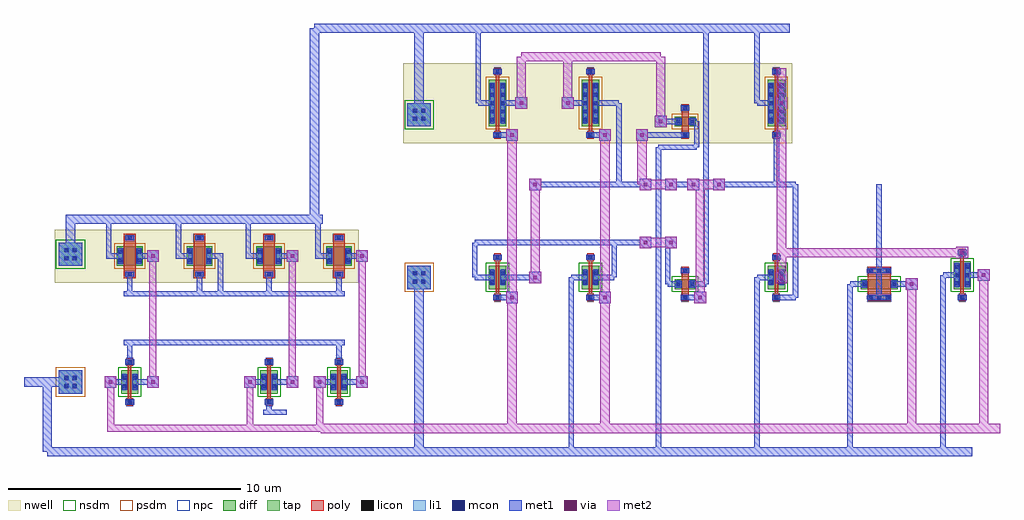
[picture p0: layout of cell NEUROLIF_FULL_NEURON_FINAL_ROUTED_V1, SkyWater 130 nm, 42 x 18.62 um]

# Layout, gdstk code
import gdstk
lib = gdstk.Library(unit=1e-6, precision=1e-09)
def R(c, l, rs):  # rectangles x0, y0, x1, y1
    for r in rs: c.add(gdstk.rectangle(r[:2], r[2:], *l))
def A(c, l, x, y, w, h, nx, ny, dx, dy):  # array of equal rectangles
    R(c, l, [(x+i*dx, y+j*dy, x+i*dx+w, y+j*dy+h) for i in range(nx) for j in range(ny)])
nwell = (64, 20)
diff = (65, 20)
tap = (65, 44)
poly = (66, 20)
licon = (66, 44)
li1 = (67, 20)
mcon = (67, 44)
met1 = (68, 20)
via = (68, 44)
met2 = (69, 20)
nsdm = (93, 44)
psdm = (94, 20)
npc = (95, 20)

n_tap_vdd_w1000_h1000 = lib.new_cell('N_TAP_VDD_W1000_H1000')
R(n_tap_vdd_w1000_h1000, nwell, [(-0.18,-0.18,1.18,1.18)])
R(n_tap_vdd_w1000_h1000, tap, [(0,0,1,1)])
R(n_tap_vdd_w1000_h1000, licon, [(0.245,0.245,0.415,0.415), (0.585,0.245,0.755,0.415), (0.245,0.585,0.415,0.755), (0.585,0.585,0.755,0.755)])
R(n_tap_vdd_w1000_h1000, li1, [(0,0,1,1)])
R(n_tap_vdd_w1000_h1000, mcon, [(0.235,0.235,0.405,0.405), (0.595,0.235,0.765,0.405), (0.235,0.595,0.405,0.765), (0.595,0.595,0.765,0.765)])
R(n_tap_vdd_w1000_h1000, met1, [(0,0,1,1)])
R(n_tap_vdd_w1000_h1000, nsdm, [(-0.125,-0.125,1.125,1.125)])

p_syn_w0840_l0500 = lib.new_cell('P_SYN_W0840_L0500')
R(p_syn_w0840_l0500, nwell, [(-0.305,-0.72,1.405,1.56)])
R(p_syn_w0840_l0500, diff, [(0,0,1.1,0.84)])
R(p_syn_w0840_l0500, poly, [(0.3,-0.53,0.8,-0.2), (0.3,-0.2,0.8,1.04), (0.3,1.04,0.8,1.37)])
R(p_syn_w0840_l0500, licon, [(0.465,-0.45,0.635,-0.28), (0.065,0.155,0.235,0.325), (0.865,0.155,1.035,0.325), (0.065,0.515,0.235,0.685), (0.865,0.515,1.035,0.685), (0.465,1.12,0.635,1.29)])
R(p_syn_w0840_l0500, li1, [(0.385,-0.45,0.715,-0.28), (0.065,0.075,0.235,0.765), (0.865,0.075,1.035,0.765), (0.385,1.12,0.715,1.29)])
R(p_syn_w0840_l0500, mcon, [(0.465,-0.45,0.635,-0.28), (0.065,0.155,0.235,0.325), (0.865,0.155,1.035,0.325), (0.065,0.515,0.235,0.685), (0.865,0.515,1.035,0.685), (0.465,1.12,0.635,1.29)])
R(p_syn_w0840_l0500, met1, [(0.365,-0.48,0.735,-0.25), (0.035,0.095,0.265,0.745), (0.835,0.095,1.065,0.745), (0.365,1.09,0.735,1.32)])
R(p_syn_w0840_l0500, psdm, [(-0.125,-0.125,1.225,0.965)])
R(p_syn_w0840_l0500, npc, [(0.29,-0.54,0.81,-0.19), (0.29,1.03,0.81,1.38)])

p_tap_vss_w1000_h1000 = lib.new_cell('P_TAP_VSS_W1000_H1000')
R(p_tap_vss_w1000_h1000, tap, [(0,0,1,1)])
R(p_tap_vss_w1000_h1000, licon, [(0.245,0.245,0.415,0.415), (0.585,0.245,0.755,0.415), (0.245,0.585,0.415,0.755), (0.585,0.585,0.755,0.755)])
R(p_tap_vss_w1000_h1000, li1, [(0,0,1,1)])
R(p_tap_vss_w1000_h1000, mcon, [(0.235,0.235,0.405,0.405), (0.595,0.235,0.765,0.405), (0.235,0.595,0.405,0.765), (0.595,0.595,0.765,0.765)])
R(p_tap_vss_w1000_h1000, met1, [(0,0,1,1)])
R(p_tap_vss_w1000_h1000, psdm, [(-0.125,-0.125,1.125,1.125)])

n_logic_w1000_l0150 = lib.new_cell('N_LOGIC_W1000_L0150')
R(n_logic_w1000_l0150, diff, [(0,0,0.75,1)])
R(n_logic_w1000_l0150, poly, [(0.24,-0.53,0.51,-0.2), (0.3,-0.2,0.45,1.2), (0.24,1.2,0.51,1.53)])
R(n_logic_w1000_l0150, licon, [(0.29,-0.45,0.46,-0.28), (0.065,0.235,0.235,0.405), (0.515,0.235,0.685,0.405), (0.065,0.595,0.235,0.765), (0.515,0.595,0.685,0.765), (0.29,1.28,0.46,1.45)])
R(n_logic_w1000_l0150, li1, [(0.21,-0.45,0.54,-0.28), (0.065,0.155,0.235,0.845), (0.515,0.155,0.685,0.845), (0.21,1.28,0.54,1.45)])
R(n_logic_w1000_l0150, mcon, [(0.29,-0.45,0.46,-0.28), (0.065,0.235,0.235,0.405), (0.515,0.235,0.685,0.405), (0.065,0.595,0.235,0.765), (0.515,0.595,0.685,0.765), (0.29,1.28,0.46,1.45)])
R(n_logic_w1000_l0150, met1, [(0.19,-0.48,0.56,-0.25), (0.035,0.175,0.265,0.825), (0.485,0.175,0.715,0.825), (0.19,1.25,0.56,1.48)])
R(n_logic_w1000_l0150, nsdm, [(-0.125,-0.125,0.875,1.125)])
R(n_logic_w1000_l0150, npc, [(0.23,-0.54,0.52,-0.19), (0.23,1.19,0.52,1.54)])

neurolif_weighted_synaps = lib.new_cell('NEUROLIF_WEIGHTED_SYNAPSE_PLACEMENT_V1')
R(neurolif_weighted_synaps, nwell, [(-2.68,7.28,10.405,9.56)])
neurolif_weighted_synaps.add(gdstk.Reference(p_syn_w0840_l0500, (0,8)))
neurolif_weighted_synaps.add(gdstk.Reference(p_syn_w0840_l0500, (3,8)))
neurolif_weighted_synaps.add(gdstk.Reference(p_syn_w0840_l0500, (6,8)))
neurolif_weighted_synaps.add(gdstk.Reference(p_syn_w0840_l0500, (9,8)))
neurolif_weighted_synaps.add(gdstk.Reference(n_tap_vdd_w1000_h1000, (-2.5,8)))
neurolif_weighted_synaps.add(gdstk.Reference(p_tap_vss_w1000_h1000, (-2.5,2.5)))
neurolif_weighted_synaps.add(gdstk.Reference(n_logic_w1000_l0150, (0.175,2.5)))
neurolif_weighted_synaps.add(gdstk.Reference(n_logic_w1000_l0150, (6.175,2.5)))
neurolif_weighted_synaps.add(gdstk.Reference(n_logic_w1000_l0150, (9.175,2.5)))

c_neurolif_weighted_synaps = lib.new_cell('NEUROLIF_WEIGHTED_SYNAPSE_VDD_V1')
A(c_neurolif_weighted_synaps, met1, -0.465, 8.305, 0.73, 0.23, 4, 1, 3, 0)
A(c_neurolif_weighted_synaps, met1, -0.465, 8.305, 0.23, 1.895, 4, 1, 3, 0)
R(c_neurolif_weighted_synaps, met1, [(-2.2,8.3,-1.8,10.2), (-2.2,9.8,8.85,10.2)])
c_neurolif_weighted_synaps.add(gdstk.Reference(neurolif_weighted_synaps, (0,0)))

c_neurolif_weighted_synaps_ = lib.new_cell('NEUROLIF_WEIGHTED_SYNAPSE_VBIAS_V1')
A(c_neurolif_weighted_synaps_, met1, 0.435, 6.685, 0.23, 1.065, 4, 1, 3, 0)
R(c_neurolif_weighted_synaps_, met1, [(0.3,6.685,9.8,6.915), (4.335,6.685,4.565,8.535), (3.835,8.305,4.565,8.535)])
c_neurolif_weighted_synaps_.add(gdstk.Reference(c_neurolif_weighted_synaps, (0,0)))

neurolif_m1_m2_transitio = lib.new_cell('NEUROLIF_M1_M2_TRANSITION_W0500_H0500')
R(neurolif_m1_m2_transitio, met1, [(0,0,0.5,0.5)])
R(neurolif_m1_m2_transitio, via, [(0.175,0.175,0.325,0.325)])
R(neurolif_m1_m2_transitio, met2, [(0,0,0.5,0.5)])

c_neurolif_weighted_synaps__ = lib.new_cell('NEUROLIF_WEIGHTED_SYNAPSE_BRANCHES_V2')
R(c_neurolif_weighted_synaps__, met1, [(0.66,2.885,1.665,3.115), (6.66,2.885,7.665,3.115), (9.66,2.885,10.665,3.115), (0.835,8.305,1.665,8.535), (6.835,8.305,7.665,8.535), (9.835,8.305,10.665,8.535)])
R(c_neurolif_weighted_synaps__, met2, [(1.4,2.75,1.7,8.67), (7.4,2.75,7.7,8.67), (10.4,2.75,10.7,8.67)])
c_neurolif_weighted_synaps__.add(gdstk.Reference(c_neurolif_weighted_synaps_, (0,0)))
c_neurolif_weighted_synaps__.add(gdstk.Reference(neurolif_m1_m2_transitio, (1.3,2.75)))
c_neurolif_weighted_synaps__.add(gdstk.Reference(neurolif_m1_m2_transitio, (7.3,2.75)))
c_neurolif_weighted_synaps__.add(gdstk.Reference(neurolif_m1_m2_transitio, (10.3,2.75)))
c_neurolif_weighted_synaps__.add(gdstk.Reference(neurolif_m1_m2_transitio, (1.3,8.17)))
c_neurolif_weighted_synaps__.add(gdstk.Reference(neurolif_m1_m2_transitio, (7.3,8.17)))
c_neurolif_weighted_synaps__.add(gdstk.Reference(neurolif_m1_m2_transitio, (10.3,8.17)))

c_neurolif_weighted_synaps___ = lib.new_cell('NEUROLIF_WEIGHTED_SYNAPSE_VMEM_V1')
R(c_neurolif_weighted_synaps___, met1, [(-0.39,2.885,0.44,3.115), (5.61,2.885,6.44,3.115), (8.61,2.885,9.44,3.115)])
R(c_neurolif_weighted_synaps___, met2, [(-0.425,0.85,-0.125,3.25), (-0.425,0.85,8.875,1.15), (5.575,0.85,5.875,3.25), (8.575,0.85,8.875,3.25)])
c_neurolif_weighted_synaps___.add(gdstk.Reference(c_neurolif_weighted_synaps__, (0,0)))
c_neurolif_weighted_synaps___.add(gdstk.Reference(neurolif_m1_m2_transitio, (-0.525,2.75)))
c_neurolif_weighted_synaps___.add(gdstk.Reference(neurolif_m1_m2_transitio, (5.475,2.75)))
c_neurolif_weighted_synaps___.add(gdstk.Reference(neurolif_m1_m2_transitio, (8.475,2.75)))

c_neurolif_weighted_synaps____ = lib.new_cell('NEUROLIF_WEIGHTED_SYNAPSE_WEIGHT_GATES_V2')
R(c_neurolif_weighted_synaps____, met1, [(6.3,1.585,7.3,1.815), (6.435,1.585,6.665,2.25), (0.435,3.75,0.665,4.815), (9.435,3.75,9.665,4.815), (0.3,4.585,9.8,4.815)])
c_neurolif_weighted_synaps____.add(gdstk.Reference(c_neurolif_weighted_synaps___, (0,0)))

c_neurolif_weighted_synaps_____ = lib.new_cell('NEUROLIF_WEIGHTED_SYNAPSE_VSS_V1')
R(c_neurolif_weighted_synaps_____, met1, [(-4,2.8,-2,3.2)])
c_neurolif_weighted_synaps_____.add(gdstk.Reference(c_neurolif_weighted_synaps____, (0,0)))

p_logic_w2000_l0150 = lib.new_cell('P_LOGIC_W2000_L0150')
R(p_logic_w2000_l0150, nwell, [(-0.305,-0.72,1.055,2.72)])
R(p_logic_w2000_l0150, diff, [(0,0,0.75,2)])
R(p_logic_w2000_l0150, poly, [(0.24,-0.53,0.51,-0.2), (0.3,-0.2,0.45,2.2), (0.24,2.2,0.51,2.53)])
A(p_logic_w2000_l0150, licon, 0.065, 0.195, 0.17, 0.17, 1, 5, 0, 0.36)
A(p_logic_w2000_l0150, licon, 0.515, 0.195, 0.17, 0.17, 1, 5, 0, 0.36)
R(p_logic_w2000_l0150, licon, [(0.29,-0.45,0.46,-0.28), (0.29,2.28,0.46,2.45)])
R(p_logic_w2000_l0150, li1, [(0.21,-0.45,0.54,-0.28), (0.065,0.115,0.235,1.885), (0.515,0.115,0.685,1.885), (0.21,2.28,0.54,2.45)])
A(p_logic_w2000_l0150, mcon, 0.065, 0.195, 0.17, 0.17, 1, 5, 0, 0.36)
A(p_logic_w2000_l0150, mcon, 0.515, 0.195, 0.17, 0.17, 1, 5, 0, 0.36)
R(p_logic_w2000_l0150, mcon, [(0.29,-0.45,0.46,-0.28), (0.29,2.28,0.46,2.45)])
R(p_logic_w2000_l0150, met1, [(0.19,-0.48,0.56,-0.25), (0.035,0.135,0.265,1.865), (0.485,0.135,0.715,1.865), (0.19,2.25,0.56,2.48)])
R(p_logic_w2000_l0150, psdm, [(-0.125,-0.125,0.875,2.125)])
R(p_logic_w2000_l0150, npc, [(0.23,-0.54,0.52,-0.19), (0.23,2.19,0.52,2.54)])

p_fb_w0420_l0300 = lib.new_cell('P_FB_W0420_L0300')
R(p_fb_w0420_l0300, nwell, [(-0.305,-0.72,1.205,1.14)])
R(p_fb_w0420_l0300, diff, [(0,0,0.9,0.42)])
R(p_fb_w0420_l0300, poly, [(0.3,-0.53,0.6,-0.2), (0.3,-0.2,0.6,0.62), (0.3,0.62,0.6,0.95)])
R(p_fb_w0420_l0300, licon, [(0.365,-0.45,0.535,-0.28), (0.065,0.125,0.235,0.295), (0.665,0.125,0.835,0.295), (0.365,0.7,0.535,0.87)])
R(p_fb_w0420_l0300, li1, [(0.285,-0.45,0.615,-0.28), (0.065,0.045,0.235,0.375), (0.665,0.045,0.835,0.375), (0.285,0.7,0.615,0.87)])
R(p_fb_w0420_l0300, mcon, [(0.365,-0.45,0.535,-0.28), (0.065,0.125,0.235,0.295), (0.665,0.125,0.835,0.295), (0.365,0.7,0.535,0.87)])
R(p_fb_w0420_l0300, met1, [(0.265,-0.48,0.635,-0.25), (0.005,0.065,0.295,0.355), (0.605,0.065,0.895,0.355), (0.265,0.67,0.635,0.9)])
R(p_fb_w0420_l0300, psdm, [(-0.125,-0.125,1.025,0.545)])
R(p_fb_w0420_l0300, npc, [(0.29,-0.54,0.61,-0.19), (0.29,0.61,0.61,0.96)])

n_fb_w0420_l0300 = lib.new_cell('N_FB_W0420_L0300')
R(n_fb_w0420_l0300, diff, [(0,0,0.9,0.42)])
R(n_fb_w0420_l0300, poly, [(0.3,-0.53,0.6,-0.2), (0.3,-0.2,0.6,0.62), (0.3,0.62,0.6,0.95)])
R(n_fb_w0420_l0300, licon, [(0.365,-0.45,0.535,-0.28), (0.065,0.125,0.235,0.295), (0.665,0.125,0.835,0.295), (0.365,0.7,0.535,0.87)])
R(n_fb_w0420_l0300, li1, [(0.285,-0.45,0.615,-0.28), (0.065,0.045,0.235,0.375), (0.665,0.045,0.835,0.375), (0.285,0.7,0.615,0.87)])
R(n_fb_w0420_l0300, mcon, [(0.365,-0.45,0.535,-0.28), (0.065,0.125,0.235,0.295), (0.665,0.125,0.835,0.295), (0.365,0.7,0.535,0.87)])
R(n_fb_w0420_l0300, met1, [(0.265,-0.48,0.635,-0.25), (0.005,0.065,0.295,0.355), (0.605,0.065,0.895,0.355), (0.265,0.67,0.635,0.9)])
R(n_fb_w0420_l0300, nsdm, [(-0.125,-0.125,1.025,0.545)])
R(n_fb_w0420_l0300, npc, [(0.29,-0.54,0.61,-0.19), (0.29,0.61,0.61,0.96)])

n_leak_w0420_l1000 = lib.new_cell('N_LEAK_W0420_L1000')
R(n_leak_w0420_l1000, diff, [(0,0,1.6,0.42)])
R(n_leak_w0420_l1000, poly, [(0.3,-0.53,1.3,-0.2), (0.3,-0.2,1.3,0.62), (0.3,0.62,1.3,0.95)])
A(n_leak_w0420_l1000, licon, 0.355, -0.45, 0.17, 0.17, 3, 2, 0.36, 1.15)
R(n_leak_w0420_l1000, licon, [(0.065,0.125,0.235,0.295), (1.365,0.125,1.535,0.295)])
R(n_leak_w0420_l1000, li1, [(0.275,-0.45,1.325,-0.28), (0.065,0.045,0.235,0.375), (1.365,0.045,1.535,0.375), (0.275,0.7,1.325,0.87)])
A(n_leak_w0420_l1000, mcon, 0.355, -0.45, 0.17, 0.17, 3, 2, 0.36, 1.15)
R(n_leak_w0420_l1000, mcon, [(0.065,0.125,0.235,0.295), (1.365,0.125,1.535,0.295)])
R(n_leak_w0420_l1000, met1, [(0.295,-0.48,1.305,-0.25), (0.005,0.065,0.295,0.355), (1.305,0.065,1.595,0.355), (0.295,0.67,1.305,0.9)])
R(n_leak_w0420_l1000, nsdm, [(-0.125,-0.125,1.725,0.545)])
R(n_leak_w0420_l1000, npc, [(0.29,-0.54,1.31,-0.19), (0.29,0.61,1.31,0.96)])

n_reset_w1200_l0150 = lib.new_cell('N_RESET_W1200_L0150')
R(n_reset_w1200_l0150, diff, [(0,0,0.75,1.2)])
R(n_reset_w1200_l0150, poly, [(0.24,-0.53,0.51,-0.2), (0.3,-0.2,0.45,1.4), (0.24,1.4,0.51,1.73)])
A(n_reset_w1200_l0150, licon, 0.065, 0.155, 0.17, 0.17, 1, 3, 0, 0.36)
A(n_reset_w1200_l0150, licon, 0.515, 0.155, 0.17, 0.17, 1, 3, 0, 0.36)
R(n_reset_w1200_l0150, licon, [(0.29,-0.45,0.46,-0.28), (0.29,1.48,0.46,1.65)])
R(n_reset_w1200_l0150, li1, [(0.21,-0.45,0.54,-0.28), (0.065,0.075,0.235,1.125), (0.515,0.075,0.685,1.125), (0.21,1.48,0.54,1.65)])
A(n_reset_w1200_l0150, mcon, 0.065, 0.155, 0.17, 0.17, 1, 3, 0, 0.36)
A(n_reset_w1200_l0150, mcon, 0.515, 0.155, 0.17, 0.17, 1, 3, 0, 0.36)
R(n_reset_w1200_l0150, mcon, [(0.29,-0.45,0.46,-0.28), (0.29,1.48,0.46,1.65)])
R(n_reset_w1200_l0150, met1, [(0.19,-0.48,0.56,-0.25), (0.035,0.095,0.265,1.105), (0.485,0.095,0.715,1.105), (0.19,1.45,0.56,1.68)])
R(n_reset_w1200_l0150, nsdm, [(-0.125,-0.125,0.875,1.325)])
R(n_reset_w1200_l0150, npc, [(0.23,-0.54,0.52,-0.19), (0.23,1.39,0.52,1.74)])

neurolif_full_neuron_pla = lib.new_cell('NEUROLIF_FULL_NEURON_PLACEMENT_V1')
R(neurolif_full_neuron_pla, nwell, [(12.32,13.28,29.055,16.72)])
neurolif_full_neuron_pla.add(gdstk.Reference(n_tap_vdd_w1000_h1000, (12.5,14)))
neurolif_full_neuron_pla.add(gdstk.Reference(c_neurolif_weighted_synaps_____, (0,0)))
neurolif_full_neuron_pla.add(gdstk.Reference(p_logic_w2000_l0150, (16,14)))
neurolif_full_neuron_pla.add(gdstk.Reference(p_logic_w2000_l0150, (20,14)))
neurolif_full_neuron_pla.add(gdstk.Reference(p_logic_w2000_l0150, (28,14)))
neurolif_full_neuron_pla.add(gdstk.Reference(p_fb_w0420_l0300, (24,14)))
neurolif_full_neuron_pla.add(gdstk.Reference(p_tap_vss_w1000_h1000, (12.5,7)))
neurolif_full_neuron_pla.add(gdstk.Reference(n_fb_w0420_l0300, (24,7)))
neurolif_full_neuron_pla.add(gdstk.Reference(n_logic_w1000_l0150, (16,7)))
neurolif_full_neuron_pla.add(gdstk.Reference(n_logic_w1000_l0150, (20,7)))
neurolif_full_neuron_pla.add(gdstk.Reference(n_logic_w1000_l0150, (28,7)))
neurolif_full_neuron_pla.add(gdstk.Reference(n_leak_w0420_l1000, (32,7)))
neurolif_full_neuron_pla.add(gdstk.Reference(n_reset_w1200_l0150, (36,7)))

neurolif_full_neuron_vdd = lib.new_cell('NEUROLIF_FULL_NEURON_VDD_V2')
R(neurolif_full_neuron_vdd, met1, [(8.3,10,8.7,18.22), (12.8,14.5,13.2,18.22), (15.55,14.885,16.15,15.115), (27.55,14.885,28.15,15.115), (15.435,15,15.665,18.22), (27.435,15,27.665,18.22), (8.5,18.02,28.95,18.42)])
neurolif_full_neuron_vdd.add(gdstk.Reference(neurolif_full_neuron_pla, (0,0)))

c_neurolif_full_neuron_vdd = lib.new_cell('NEUROLIF_FULL_NEURON_VDD_V3')
R(c_neurolif_full_neuron_vdd, met1, [(24.75,7.095,25.35,7.325), (25.235,7.21,25.465,18.22)])
c_neurolif_full_neuron_vdd.add(gdstk.Reference(neurolif_full_neuron_vdd, (0,0)))

neurolif_full_neuron_vss = lib.new_cell('NEUROLIF_FULL_NEURON_VSS_V1')
R(neurolif_full_neuron_vss, met1, [(-3,-0.2,36.8,0.2), (-3.2,0,-2.8,3), (12.8,0,13.2,7.5), (19.435,0,19.665,7.5), (23.185,0,23.415,13.1), (27.435,0,27.665,7.5), (31.435,0,31.665,7.21), (35.435,0,35.665,7.6), (31.55,7.095,32.15,7.325), (19.55,7.385,20.15,7.615), (27.55,7.385,28.15,7.615), (35.55,7.485,36.15,7.715), (23.3,12.985,24.95,13.215), (24.835,13.1,25.065,14.21), (24.75,14.095,24.95,14.325)])
neurolif_full_neuron_vss.add(gdstk.Reference(c_neurolif_full_neuron_vdd, (0,0)))

neurolif_full_neuron_vme = lib.new_cell('NEUROLIF_FULL_NEURON_VMEM_V1')
R(neurolif_full_neuron_vme, met1, [(16.75,6.385,17.25,6.885), (20.75,6.385,21.25,6.885), (16.375,6.52,17,6.75), (20.375,6.52,21,6.75), (33.95,6.96,34.45,7.46), (33.45,7.095,34.2,7.325), (37.05,7.35,37.55,7.85), (36.6,7.485,37.3,7.715), (16.75,13.385,17.25,13.885), (20.75,13.385,21.25,13.885), (16.375,13.52,17,13.75), (20.375,13.52,21,13.75)])
R(neurolif_full_neuron_vme, via, [(16.925,6.56,17.075,6.71), (20.925,6.56,21.075,6.71), (34.125,7.135,34.275,7.285), (37.225,7.525,37.375,7.675), (16.925,13.56,17.075,13.71), (20.925,13.56,21.075,13.71)])
R(neurolif_full_neuron_vme, met2, [(8.775,0.8,38,1.2), (16.8,1,17.2,13.635), (20.8,1,21.2,13.635), (34,1,34.4,7.21), (37.1,1,37.5,7.6), (16.75,6.385,17.25,6.885), (20.75,6.385,21.25,6.885), (33.95,6.96,34.45,7.46), (37.05,7.35,37.55,7.85), (16.75,13.385,17.25,13.885), (20.75,13.385,21.25,13.885)])
neurolif_full_neuron_vme.add(gdstk.Reference(neurolif_full_neuron_vss, (0,0)))

neurolif_full_neuron_vle = lib.new_cell('NEUROLIF_FULL_NEURON_VLEAK_V1')
R(neurolif_full_neuron_vle, met1, [(32.685,6.635,32.915,11.5)])
neurolif_full_neuron_vle.add(gdstk.Reference(neurolif_full_neuron_vme, (0,0)))

neurolif_full_neuron_pmi = lib.new_cell('NEUROLIF_FULL_NEURON_PMID_V2')
R(neurolif_full_neuron_pmi, met1, [(23.15,13.96,23.65,14.46), (23.4,14.095,24.15,14.325), (17.15,14.75,17.65,15.25), (19.15,14.75,19.65,15.25), (16.6,14.885,17.4,15.115), (19.4,14.885,20.15,15.115)])
R(neurolif_full_neuron_pmi, via, [(23.325,14.135,23.475,14.285), (17.325,14.925,17.475,15.075), (19.325,14.925,19.475,15.075)])
R(neurolif_full_neuron_pmi, met2, [(23.15,13.96,23.65,14.46), (23.2,14.21,23.6,17), (17.15,14.75,17.65,15.25), (19.15,14.75,19.65,15.25), (17.2,15,17.6,17), (19.2,15,19.6,17), (17.4,16.8,23.4,17.2)])
neurolif_full_neuron_pmi.add(gdstk.Reference(neurolif_full_neuron_vle, (0,0)))

neurolif_full_neuron_nmi = lib.new_cell('NEUROLIF_FULL_NEURON_NMID_V1')
R(neurolif_full_neuron_nmi, met1, [(23.7,7.095,24.15,7.325), (23.585,7.21,23.815,9), (15.4,7.385,16.15,7.615), (20.6,7.385,21.4,7.615), (15.285,7.5,15.515,9), (21.285,7.5,21.515,9), (22.5,8.75,23,9.25), (23.6,8.75,24.1,9.25), (15.4,8.885,22.75,9.115), (23.7,8.885,23.85,9.115)])
R(neurolif_full_neuron_nmi, via, [(22.675,8.925,22.825,9.075), (23.775,8.925,23.925,9.075)])
R(neurolif_full_neuron_nmi, met2, [(22.5,8.75,23,9.25), (23.6,8.75,24.1,9.25), (22.75,8.8,23.85,9.2)])
neurolif_full_neuron_nmi.add(gdstk.Reference(neurolif_full_neuron_pmi, (0,0)))

neurolif_full_neuron_vra = lib.new_cell('NEUROLIF_FULL_NEURON_VRAW_V2')
R(neurolif_full_neuron_vra, met1, [(24.85,6.385,25.35,6.885), (24.45,6.52,25.1,6.75), (28.375,6.52,29.2,6.75), (29.085,6.635,29.315,11.5), (17.75,7.25,18.25,7.75), (16.6,7.385,18,7.615), (17.75,11.25,18.25,11.75), (22.5,11.25,23,11.75), (23.6,11.25,24.1,11.75), (24.55,11.25,25.05,11.75), (25.65,11.25,26.15,11.75), (18,11.385,22.75,11.615), (23.85,11.385,24.8,11.615), (25.9,11.385,29.2,11.615), (21.485,11.5,21.715,15), (28.26,11.5,28.49,13.635), (22.35,13.385,22.85,13.885), (22.6,13.52,24.45,13.75), (20.6,14.885,21.6,15.115)])
R(neurolif_full_neuron_vra, via, [(25.025,6.56,25.175,6.71), (17.925,7.425,18.075,7.575), (17.925,11.425,18.075,11.575), (22.675,11.425,22.825,11.575), (23.775,11.425,23.925,11.575), (24.725,11.425,24.875,11.575), (25.825,11.425,25.975,11.575), (22.525,13.56,22.675,13.71)])
R(neurolif_full_neuron_vra, met2, [(24.85,6.385,25.35,6.885), (24.9,6.635,25.3,11.5), (17.75,7.25,18.25,7.75), (17.8,7.5,18.2,11.5), (17.75,11.25,18.25,11.75), (22.5,11.25,23,11.75), (23.6,11.25,24.1,11.75), (24.55,11.25,25.05,11.75), (25.65,11.25,26.15,11.75), (22.75,11.3,23.85,11.7), (24.8,11.3,25.9,11.7), (22.4,11.5,22.8,13.635), (22.35,13.385,22.85,13.885)])
neurolif_full_neuron_vra.add(gdstk.Reference(neurolif_full_neuron_nmi, (0,0)))

neurolif_full_neuron_spi = lib.new_cell('NEUROLIF_FULL_NEURON_SPIKE_V1')
R(neurolif_full_neuron_spi, met1, [(28.45,7.35,28.75,7.65), (28.45,14.85,28.75,15.15)])
R(neurolif_full_neuron_spi, via, [(28.525,7.425,28.675,7.575), (28.525,14.925,28.675,15.075)])
R(neurolif_full_neuron_spi, met2, [(28.35,7.25,28.85,7.75), (28.4,7.5,28.8,16.5), (28.35,14.75,28.85,15.25)])
neurolif_full_neuron_spi.add(gdstk.Reference(neurolif_full_neuron_vra, (0,0)))

neurolif_full_neuron_fin = lib.new_cell('NEUROLIF_FULL_NEURON_FINAL_ROUTED_V1')
R(neurolif_full_neuron_fin, met1, [(36.225,8.415,36.525,8.715)])
R(neurolif_full_neuron_fin, via, [(36.3,8.49,36.45,8.64)])
R(neurolif_full_neuron_fin, met2, [(36.125,8.315,36.625,8.815), (28.6,8.365,36.375,8.765)])
neurolif_full_neuron_fin.add(gdstk.Reference(neurolif_full_neuron_spi, (0,0)))

lib.write_gds('NEUROLIF_FULL_NEURON_FINAL_ROUTED_V1.gds')
